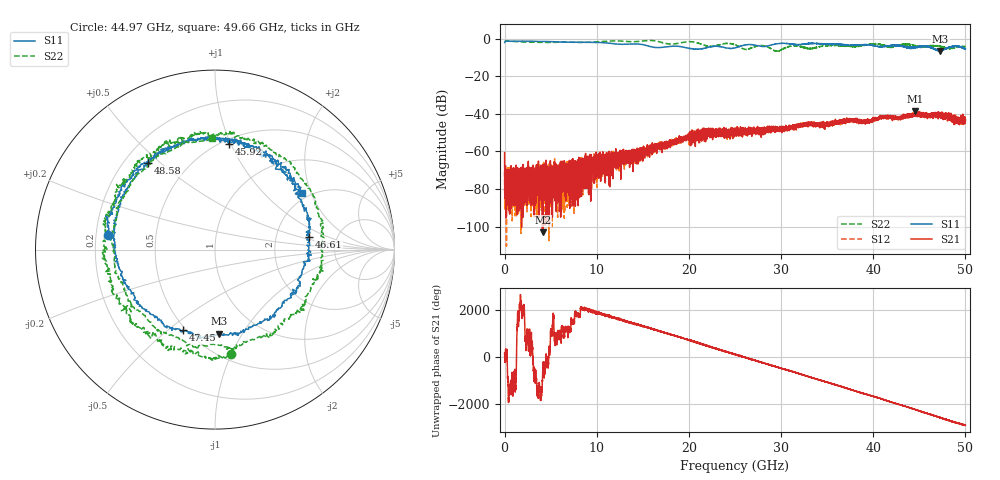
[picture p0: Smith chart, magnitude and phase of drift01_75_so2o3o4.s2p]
!Created with skrf (http://scikit-rf.org).
# Hz S RI R 50.0
!freq ReS11 ImS11 ReS21 ImS21 ReS12 ImS12 ReS22 ImS22
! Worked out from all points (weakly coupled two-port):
!   10001 points, 300 kHz to 50 GHz, reference 50 ohm
!   highest |S21| = -38.69 dB at 44.58 GHz (marker M1); lowest = -102.9 dB at 4.135 GHz (marker M2)
!   lowest |S11| = -6.6 dB at 47.28 GHz (marker M3), VSWR 2.76, Z = 33.2 - j39.7 ohm
!   |S11| at or under -10 dB: nowhere
!   |S22| runs from -6.8 to -1.0 dB; largest |S21 - S12| = 0.0037
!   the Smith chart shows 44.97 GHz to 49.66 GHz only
!   S11 on the Smith chart (normalised r, x): 44.97 GHz: 0.25, +0.06; 45.92 GHz: 0.54, +0.98; 46.61 GHz: 3.11, +0.62; 47.45 GHz: 0.48, -0.56; 48.58 GHz: 0.30, +0.46; 49.66 GHz: 1.82, +1.74
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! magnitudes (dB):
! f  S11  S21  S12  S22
! 300 kHz  -2.1  -60.6  -70.6  -1.3
! 290.3 MHz  -1.4  -73.1  -76.5  -1.3
! 4.135 GHz  -1.6  -102.9  -75.0  -2.0
! 8.335 GHz  -1.9  -68.6  -73.0  -2.1
! 16.67 GHz  -4.8  -56.8  -57.5  -1.6
! 21.99 GHz  -4.8  -49.4  -49.8  -4.0
! 25 GHz  -5.0  -49.8  -48.5  -3.4
! 26.19 GHz  -3.4  -50.6  -48.8  -5.7
! 28.07 GHz  -4.2  -48.4  -50.2  -3.9
! 29.53 GHz  -2.8  -48.0  -47.7  -6.8
! 31.27 GHz  -3.1  -47.4  -46.7  -4.0
! 33.34 GHz  -2.6  -46.2  -44.8  -5.4
! 41.67 GHz  -3.9  -41.2  -41.4  -4.5
! 44.58 GHz  -4.7  -38.7  -40.2  -3.8
! 44.97 GHz  -4.4  -39.7  -40.7  -4.6
! 45.92 GHz  -4.5  -41.0  -40.8  -4.2
! 46.61 GHz  -5.5  -41.1  -40.7  -3.8
! 47.28 GHz  -6.6  -40.7  -40.5  -4.2
! 47.45 GHz  -6.3  -41.4  -41.7  -4.6
! 48.58 GHz  -4.3  -41.8  -43.4  -5.2
! 49.66 GHz  -4.7  -43.0  -43.0  -4.1
! 50 GHz  -5.5  -43.5  -42.8  -4.2
